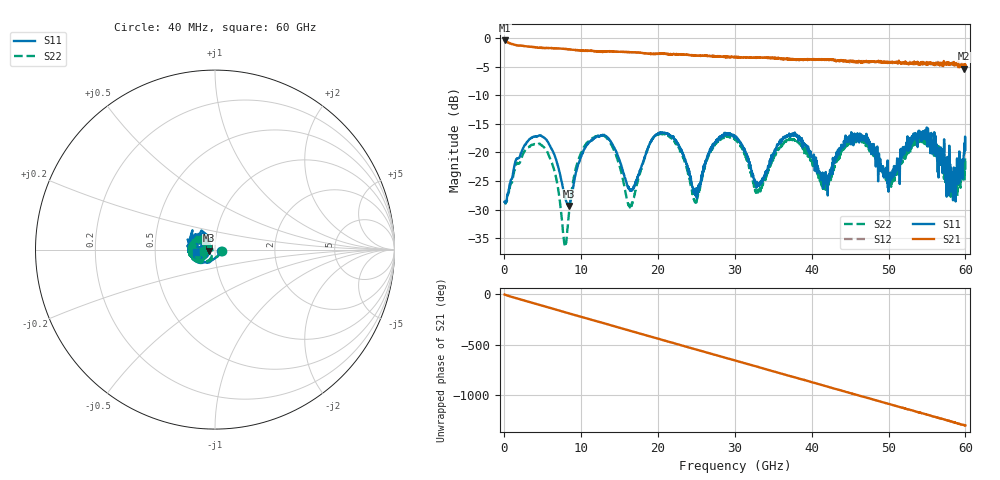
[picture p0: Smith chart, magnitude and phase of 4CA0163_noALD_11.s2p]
! File created by 'SoftPlot +Plus+ Measurement Management Software'
! SoftPlot +Plus+ Measurement Management Software
! Start 40.000000 MHz  Stop 60.000000 GHz  Points 1601
# MHZ S RI R 50
! S-Parameter data, F S11 S21 S12 S22
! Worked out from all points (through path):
!   1601 points, 40 MHz to 60 GHz, reference 50 ohm
!   highest |S21| = -0.37 dB at 40 MHz (marker M1); lowest = -5.3 dB at 59.85 GHz (marker M2)
!   group delay of S21, straight-line fit = 60 ps
!   lowest |S11| = -29.4 dB at 8.397 GHz (marker M3), VSWR 1.07, Z = 46.7 - j0.541 ohm
!   |S11| at or under -10 dB: start of sweep to end of sweep
!   |S22| runs from -36.4 to -16.6 dB; largest |S21 - S12| = 0.07
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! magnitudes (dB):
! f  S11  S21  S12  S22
! 40 MHz  -28.7  -0.4  -0.4  -28.4
! 4.649 GHz  -17.0  -1.6  -1.7  -18.5
! 6.523 GHz  -20.4  -1.7  -1.7  -23.3
! 7.835 GHz  -27.5  -1.8  -1.9  -36.1
! 8.397 GHz  -29.4  -1.9  -1.9  -30.9
! 10.05 GHz  -20.6  -2.2  -2.1  -19.9
! 13.31 GHz  -17.2  -2.3  -2.3  -17.4
! 16.38 GHz  -26.7  -2.4  -2.4  -29.4
! 20.05 GHz  -16.7  -2.7  -2.7  -16.7
! 24.85 GHz  -27.5  -3.0  -3.0  -28.8
! 27.21 GHz  -18.6  -3.1  -3.2  -18.9
! 30.02 GHz  -17.1  -3.3  -3.3  -17.7
! 32.91 GHz  -25.3  -3.4  -3.4  -26.9
! 36.84 GHz  -17.1  -3.7  -3.6  -17.8
! 40.03 GHz  -20.7  -3.7  -3.7  -21.7
! 42.01 GHz  -25.1  -3.7  -3.8  -25.6
! 46.81 GHz  -17.8  -4.2  -4.1  -18.2
! 50.03 GHz  -25.3  -4.3  -4.2  -24.3
! 53.44 GHz  -17.0  -4.4  -4.5  -18.6
! 58.46 GHz  -23.9  -4.3  -4.5  -25.7
! 59.85 GHz  -20.3  -5.3  -4.9  -21.8
! 60 GHz  -19.5  -4.7  -4.4  -23.5
